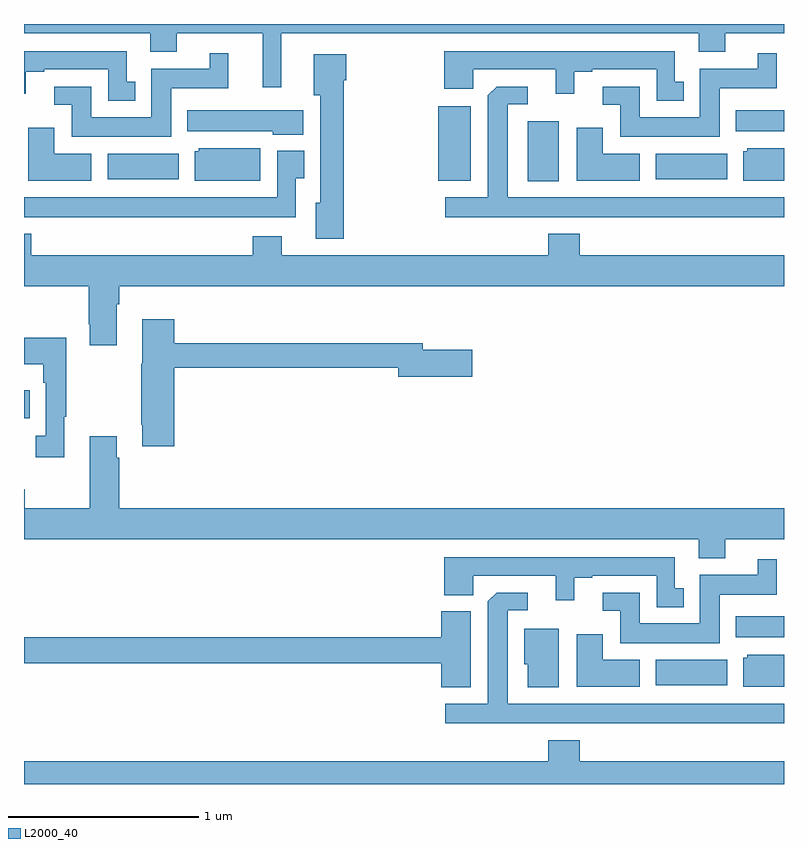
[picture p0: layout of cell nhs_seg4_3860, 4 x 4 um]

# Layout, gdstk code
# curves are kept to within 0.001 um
import gdstk
lib = gdstk.Library(unit=1e-6, precision=1e-09)
def R(c, l, rs):  # rectangles x0, y0, x1, y1
    for r in rs: c.add(gdstk.rectangle(r[:2], r[2:], *l))
def P(c, l, *ps):  # polygons
    for p in ps: c.add(gdstk.Polygon(p, *l))
L2000_40 = (2000, 40)

nhs_seg4_3860 = lib.new_cell('nhs_seg4_3860')
R(nhs_seg4_3860, L2000_40, [(318.326,761.42,318.7,761.554), (318.746,761.672,319,761.782), (315,762.826,315.029,762.973), (317.651,764.072,317.815,764.389), (317.18,764.075,317.35,764.467), (315.44,764.084,315.814,764.218), (318.326,764.084,318.7,764.218), (318.746,764.336,319,764.446)])
P(nhs_seg4_3860, L2000_40, [(316.354,764.852),(318.551,764.852),(318.551,764.753),(318.691,764.753),(318.691,764.852),(319,764.852),(319,764.9),(315,764.9),(315,764.852),(315.665,764.852),(315.665,764.753),(315.805,764.753),(315.805,764.852),(316.256,764.852),(316.256,764.568),(316.354,764.568)],
  [(318.472,764.595),(318.426,764.595),(318.426,764.757),(317.213,764.757),(317.213,764.558),(317.364,764.558),(317.364,764.661),(317.798,764.661),(317.798,764.532),(317.896,764.532),(317.896,764.649),(317.992,764.649),(317.992,764.661),(318.33,764.661),(318.33,764.495),(318.472,764.495)],
  [(315.586,764.595),(315.54,764.595),(315.54,764.757),(315,764.757),(315,764.532),(315.01,764.532),(315.01,764.649),(315.106,764.649),(315.106,764.661),(315.444,764.661),(315.444,764.495),(315.586,764.495)],
  [(318.661,764.561),(318.962,764.561),(318.962,764.746),(318.863,764.746),(318.863,764.665),(318.557,764.665),(318.557,764.41),(318.241,764.41),(318.241,764.571),(318.045,764.571),(318.045,764.475),(318.137,764.475),(318.137,764.306),(318.661,764.306)],
  [(315.775,764.561),(316.076,764.561),(316.076,764.746),(315.977,764.746),(315.977,764.665),(315.671,764.665),(315.671,764.41),(315.355,764.41),(315.355,764.571),(315.159,764.571),(315.159,764.475),(315.251,764.475),(315.251,764.306),(315.775,764.306)],
  [(316.682,764.604),(316.697,764.604),(316.697,764.74),(316.526,764.74),(316.526,764.526),(316.559,764.526),(316.559,763.959),(316.535,763.959),(316.535,763.769),(316.682,763.769)],
  [(319,763.987),(317.545,763.987),(317.545,764.478),(317.65,764.478),(317.65,764.571),(317.488,764.571),(317.442,764.525),(317.441,763.987),(317.217,763.987),(317.217,763.883),(319,763.883)],
  [(316.471,764.446),(315.86,764.446),(315.86,764.336),(316.308,764.336),(316.308,764.318),(316.471,764.318)],
  [(318.241,764.218),(318.046,764.218),(318.046,764.353),(317.909,764.353),(317.909,764.075),(318.241,764.075)],
  [(315.355,764.218),(315.16,764.218),(315.16,764.353),(315.023,764.353),(315.023,764.075),(315.355,764.075)],
  [(316.243,764.245),(315.921,764.245),(315.921,764.229),(315.899,764.229),(315.899,764.075),(316.243,764.075)],
  [(319,764.245),(318.807,764.245),(318.807,764.229),(318.785,764.229),(318.785,764.075),(319,764.075)],
  [(316.429,764.089),(316.474,764.089),(316.474,764.233),(316.332,764.233),(316.332,763.987),(315,763.987),(315,763.883),(316.429,763.883)],
  [(315.487,763.424),(315.5,763.424),(315.5,763.52),(319,763.52),(319,763.684),(317.924,763.684),(317.924,763.795),(317.759,763.795),(317.759,763.684),(316.357,763.684),(316.357,763.783),(316.205,763.783),(316.205,763.684),(315.038,763.684),(315.038,763.795),(315,763.795),(315,763.52),(315.34,763.52),(315.34,763.321),(315.347,763.321),(315.347,763.209),(315.487,763.209)],
  [(315.791,763.09),(316.97,763.09),(316.97,763.043),(317.359,763.043),(317.359,763.185),(317.098,763.185),(317.098,763.219),(315.791,763.219),(315.791,763.345),(315.623,763.345),(315.623,763.113),(315.616,763.113),(315.616,762.79),(315.623,762.79),(315.623,762.678),(315.791,762.678)],
  [(315.211,762.833),(315.223,762.833),(315.223,763.249),(315,763.249),(315,763.109),(315.102,763.109),(315.102,763.013),(315.114,763.013),(315.114,762.734),(315.063,762.734),(315.063,762.621),(315.211,762.621)],
  [(318.691,762.188),(319,762.188),(319,762.352),(315.5,762.352),(315.5,762.617),(315.487,762.617),(315.487,762.73),(315.347,762.73),(315.347,762.352),(315.003,762.352),(315.003,762.451),(315,762.451),(315,762.188),(318.551,762.188),(318.551,762.089),(318.691,762.089)],
  [(318.472,761.931),(318.426,761.931),(318.426,762.093),(317.213,762.093),(317.213,761.894),(317.364,761.894),(317.364,761.997),(317.798,761.997),(317.798,761.868),(317.896,761.868),(317.896,761.985),(317.992,761.985),(317.992,761.997),(318.33,761.997),(318.33,761.831),(318.472,761.831)],
  [(318.661,761.897),(318.962,761.897),(318.962,762.082),(318.863,762.082),(318.863,762.001),(318.557,762.001),(318.557,761.746),(318.241,761.746),(318.241,761.907),(318.045,761.907),(318.045,761.811),(318.137,761.811),(318.137,761.642),(318.661,761.642)],
  [(319,761.323),(317.545,761.323),(317.545,761.814),(317.65,761.814),(317.65,761.907),(317.488,761.907),(317.442,761.861),(317.441,761.323),(317.217,761.323),(317.217,761.219),(319,761.219)],
  [(317.35,761.809),(317.195,761.809),(317.195,761.672),(315,761.672),(315,761.536),(317.195,761.536),(317.195,761.408),(317.35,761.408)],
  [(317.815,761.716),(317.633,761.716),(317.633,761.529),(317.651,761.529),(317.651,761.408),(317.815,761.408)],
  [(318.241,761.554),(318.046,761.554),(318.046,761.689),(317.909,761.689),(317.909,761.411),(318.241,761.411)],
  [(319,761.581),(318.807,761.581),(318.807,761.565),(318.785,761.565),(318.785,761.411),(319,761.411)],
  [(319,761.02),(317.924,761.02),(317.924,761.131),(317.759,761.131),(317.759,761.02),(315,761.02),(315,760.9),(319,760.9)])

lib.write_gds('nhs_seg4_3860.gds')
